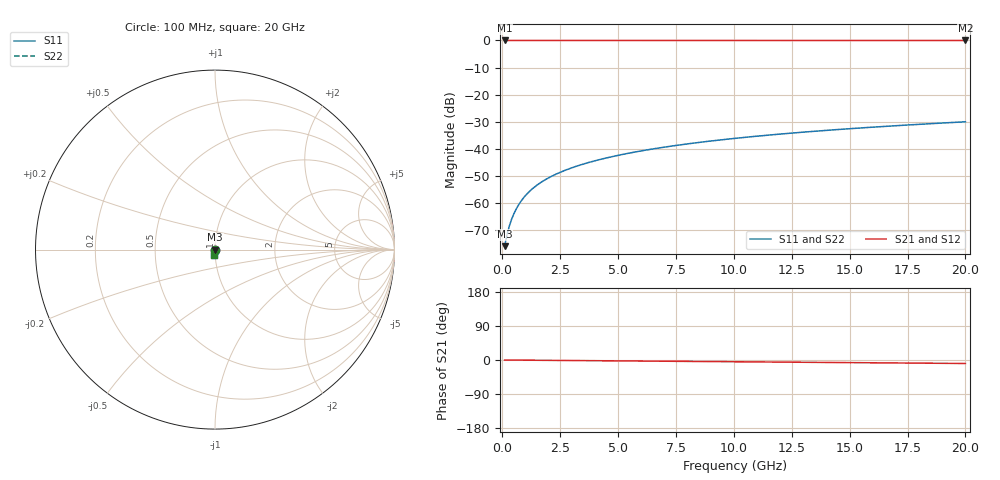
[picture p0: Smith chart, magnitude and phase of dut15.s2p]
! Touchstone file exported from HFSS 2026.1.0
!  File:  C:/ffzhzh/LocalFiles/Ansys_Project_Files/temp_val_TSV_15_1782975014_45568.aedt
!  Generated:  02:51:40 PM Jul  2, 2026
!  Design:  TSV
!  Project:  temp_val_TSV_15_1782975014_45568
! Variables:
!  h_bsmrdl = 2um
!  h_ox = 20um
!  h_rdl = 5um
!  h_sub = 94.41um
!  h_tmrdl = 5um
!  h_tsv = 94.41um
!  h_via = 3um
!  l_bsmrdl = 300um
!  l_sub = 423.46um
!  l_tmrdl = 200um
!  m_sub = 200um
!  pitch = 39.23um
!  r_tsv = 11.73um
!  s_tmrdl = 10um
!  w_bsmrdl = 18um
!  w_sub = 500um
!  w_tmrdl = 12um
!  x_tsv_center1 = 206um
!  x_tsv_center2 = 524um
!  x_tsv_center3 = 736um
!  x_tsv_center4 = 1054um
!  x_tsv_center5 = 1266um
!  x_tsv_center6 = 1584um
# GHz S MA R 50.000000
! Terminal data exported
! Port[1] = TSV1_1_T1
! Port[2] = TSV1_1_T2
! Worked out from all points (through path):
!   200 points, 100 MHz to 20 GHz, reference 50 ohm
!   highest |S21| = 0.00 dB at 100 MHz (marker M1); lowest = 0.0 dB at 20 GHz (marker M2)
!   group delay of S21, straight-line fit = 1.27 ps
!   lowest |S11| = -76.0 dB at 100 MHz (marker M3), VSWR 1.00, Z = 50 - j0.0106 ohm
!   |S11| at or under -10 dB: start of sweep to end of sweep
!   |S22| runs from -76.0 to -30.1 dB; largest |S21 - S12| = 2.1e-15
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0.1  0.0001582 -41.8  0.9999 -0.0  0.9999 -0.0  0.0001582 -41.8
! Gamma 0 0 0 0
! Port Impedance 50 0 50 0
0.2  0.0002532 -58.1  0.9999 -0.1  0.9999 -0.1  0.0002532 -58.1
0.3  0.0003668 -64.7  0.9998 -0.1  0.9998 -0.1  0.0003668 -64.7
0.4  0.000492 -68.1  0.9998 -0.2  0.9998 -0.2  0.000492 -68.1
0.5  0.0006259 -70.2  0.9998 -0.2  0.9998 -0.2  0.0006259 -70.2
0.6  0.0007663 -71.8  0.9998 -0.3  0.9998 -0.3  0.0007663 -71.8
0.8  0.00106 -74.3  0.9997 -0.4  0.9997 -0.4  0.00106 -74.3
1.1  0.001514 -77.1  0.9996 -0.5  0.9996 -0.5  0.001514 -77.1
1.3  0.00182 -78.5  0.9996 -0.6  0.9996 -0.6  0.00182 -78.5
1.5  0.002127 -79.7  0.9996 -0.7  0.9996 -0.7  0.002127 -79.7
1.8  0.002588 -81.1  0.9996 -0.8  0.9996 -0.8  0.002588 -81.1
2.1  0.003048 -82.2  0.9995 -1.0  0.9995 -1.0  0.003048 -82.2
2.7  0.00397 -83.8  0.9995 -1.3  0.9995 -1.3  0.00397 -83.8
3.5  0.005204 -85.2  0.9994 -1.6  0.9994 -1.6  0.005204 -85.2
4.2  0.006291 -86.2  0.9993 -1.9  0.9993 -1.9  0.006291 -86.2
5  0.007541 -87.0  0.9993 -2.3  0.9993 -2.3  0.007541 -87.0
6.8  0.01038 -88.6  0.9991 -3.1  0.9991 -3.1  0.01038 -88.6
8.3  0.01275 -89.8  0.999 -3.8  0.999 -3.8  0.01275 -89.8
10.1  0.01562 -91.0  0.9989 -4.7  0.9989 -4.7  0.01562 -91.0
13.4  0.02087 -93.0  0.9986 -6.2  0.9986 -6.2  0.02087 -93.0
16.7  0.02613 -94.9  0.9984 -7.7  0.9984 -7.7  0.02613 -94.9
20  0.03141 -96.6  0.9981 -9.2  0.9981 -9.2  0.03141 -96.6
